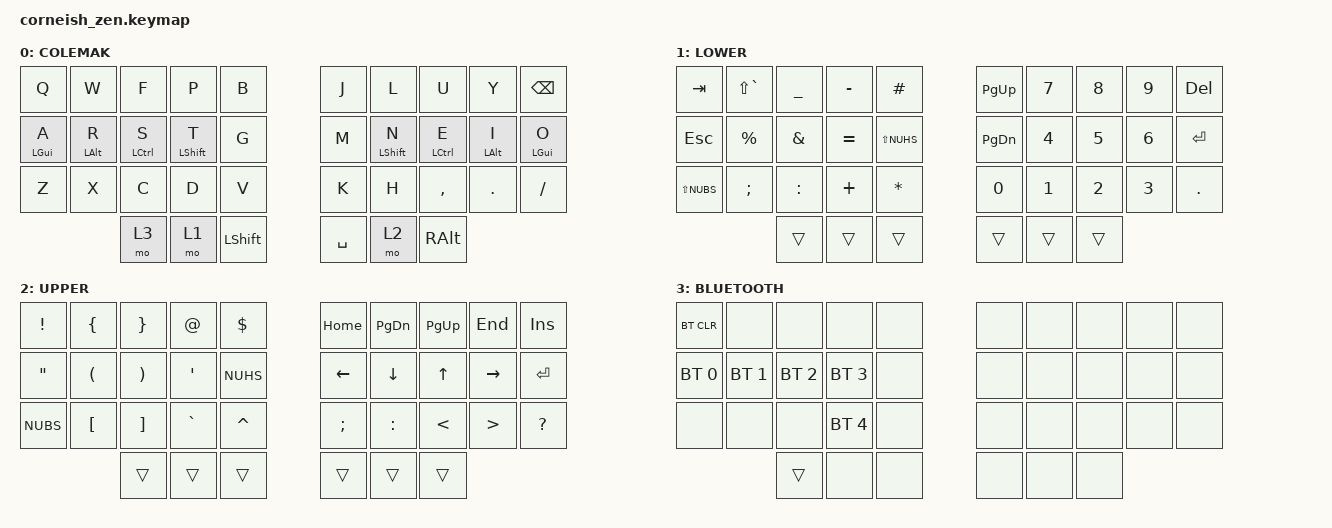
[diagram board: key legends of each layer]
#include <behaviors.dtsi>
#include <dt-bindings/zmk/keys.h>
#include <dt-bindings/zmk/bt.h>

/ {
    chosen {
        //zmk,matrix_transform = &default_transform;
        //zmk,matrix_transform = &five_column_transform;
        zmk,physical-layout = &foostan_corne_5col_layout;
    };
    behaviors {
        hm: homerow_mods {
            compatible = "zmk,behavior-hold-tap";
            label = "HOMEROW_MODS";
            #binding-cells = <2>;
            tapping-term-ms = <200>;
            quick-tap-ms = <0>;
            flavor = "tap-preferred";
            bindings = <&kp>, <&kp>;
        };
    };
// ZMK doesn't support mouse buttons, so no adjust layer needed
//    conditional_layers {
//        compatible = "zmk,conditional-layers";
//        tri_layer {
//            if-layers = <1 2>;
//            then-layer = <3>;
//        };
//    };
};

/ {
        keymap {
                compatible = "zmk,keymap";

                default_layer {
                        label = "COLEMAK";
// -----------------------------------------------------------------------------------------
// |  Q  |  W  |  F  |  P  |  B  |   |  J  |  L   |  U  |  Y  |BKSP |
// |  A  |  R  |  S  |  T  |  G  |   |  M  |  N   |  E  |  I  |  O  |
// |  Z  |  X  |  C  |  D  |  V  |   |  K  |  H   |  ,  |  .  |  /  |
//             | GUI | LWR |SHFT |   | SPC | RSE  | ALT |
                        bindings = <
   &kp Q      &kp W      &kp F       &kp P       &kp B   &kp J &kp L       &kp U       &kp Y      &kp BSPC
   &hm LGUI A &hm LALT R &hm LCTRL S &hm LSHFT T &kp G   &kp M &hm LSHFT N &hm LCTRL E &hm LALT I &hm LGUI O
   &kp Z &kp X &kp C &kp D &kp V   &kp K &kp H  &kp COMMA &kp DOT &kp FSLH
                  &mo 3 &mo 1 &kp LSHFT   &kp SPACE &mo 2 &kp RALT
                        >;
                };
                lower_layer {
                        label = "LOWER";
// -----------------------------------------------------------------------------------------
// | TAB |  ¬  |  _  |  -  |  £  |   |PGUP |  7  |  8  |  9  | DEL |
// | ESC |  %  |  &  |  =  |  ~  |   |PGDN |  4  |  5  |  6  |ENTR |
// | "|" |  ;  |  :  |  +  |  *  |   |  0  |  1  |  2  |  3  |  .  |
//             |     |     |     |   |     |     |     |
                        bindings = <
   &kp TAB       &kp LS(GRAVE) &kp UNDER &kp MINUS &kp POUND    &kp PG_UP &kp N7 &kp N8 &kp N9 &kp DELETE
   &kp ESC       &kp PERCENT   &kp AMPS  &kp EQUAL &kp LS(NUHS) &kp PG_DN &kp N4 &kp N5 &kp N6 &kp ENTER
   &kp LS(NUBS)  &kp SEMI      &kp COLON &kp PLUS  &kp STAR     &kp N0    &kp N1 &kp N2 &kp N3 &kp DOT
                          	        &trans     &trans       &trans      &trans  &trans   &trans
                        >;
                };

                raise_layer {
                        label = "UPPER";
// -----------------------------------------------------------------------------------------
// |  !  |  {  |  }  |  "  |  $  |   |HOME |PGDN |PGUP | END | INS |
// |  @  |  (  |  )  |  '  |  #  |   |LEFT |DOWN | UP  |RIGHT|ENTER|
// |  \  |  [  |  ]  |  `  |  ^  |   |  ;  |  :  |  <  |  >  |  ?  |
//             |     |     |     |   |     |     |     |
                        bindings = <
   &kp EXCL &kp LBRC &kp RBRC &kp AT    &kp DLLR  &kp HOME &kp PG_DN &kp PG_UP &kp END   &kp INS
   &kp DQT  &kp LPAR &kp RPAR &kp SQT   &kp NUHS  &kp LEFT &kp DOWN  &kp UP    &kp RIGHT &kp ENTER
   &kp NUBS &kp LBKT &kp RBKT &kp GRAVE &kp CARET &kp SEMI &kp COLON &kp LT    &kp GT    &kp QMARK
                     &trans   &trans    &trans    &trans   &trans    &trans
                        >;
                };

                bt_layer {
                        label = "BLUETOOTH";
                        bindings = <
    &bt BT_CLR &none &none &none &none                        &none &none &none &none &none
    &bt BT_SEL 0 &bt BT_SEL 1 &bt BT_SEL 2 &bt BT_SEL 3 &none &none &none &none &none &none
    &none &none &none &bt BT_SEL 4 &none                      &none &none &none &none &none
                &trans &none &none                            &none &none &none
                        >;
                };

        };
};
